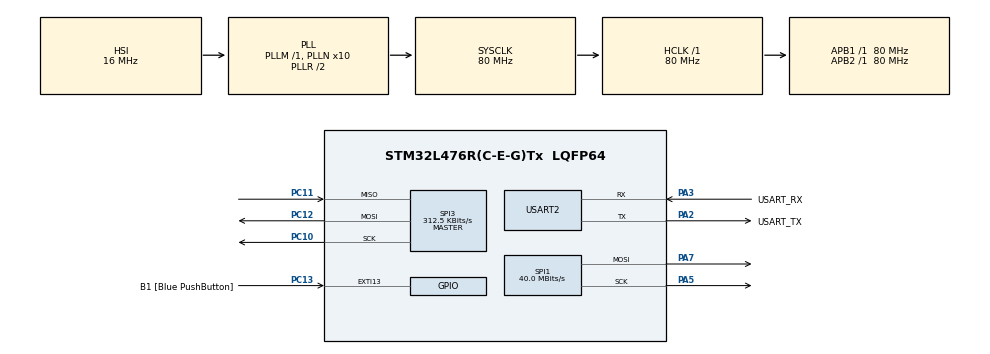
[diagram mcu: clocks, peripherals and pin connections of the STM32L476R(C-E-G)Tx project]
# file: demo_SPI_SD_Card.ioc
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Mcu.Family=STM32L4
Mcu.Name=STM32L476R(C-E-G)Tx
Mcu.Package=LQFP64
NVIC.PriorityGroup=NVIC_PRIORITYGROUP_4
PA13\ (JTMS-SWDIO).GPIO_Label=TMS
PA13\ (JTMS-SWDIO).Mode=Serial_Wire
PA13\ (JTMS-SWDIO).Signal=SYS_JTMS-SWDIO
PA14\ (JTCK-SWCLK).GPIO_Label=TCK
PA14\ (JTCK-SWCLK).Mode=Serial_Wire
PA14\ (JTCK-SWCLK).Signal=SYS_JTCK-SWCLK
PA2.GPIO_Label=USART_TX
PA2.GPIO_Mode=GPIO_MODE_AF_PP
PA2.GPIO_PuPd=GPIO_NOPULL
PA2.GPIO_Speed=GPIO_SPEED_FREQ_VERY_HIGH
PA2.Mode=Asynchronous
PA2.Signal=USART2_TX
PA3.GPIO_Label=USART_RX
PA3.GPIO_Mode=GPIO_MODE_AF_PP
PA3.GPIO_PuPd=GPIO_NOPULL
PA3.GPIO_Speed=GPIO_SPEED_FREQ_VERY_HIGH
PA3.Mode=Asynchronous
PA3.Signal=USART2_RX
PA5.Mode=TX_Only_Simplex_Unidirect_Master
PA5.Signal=SPI1_SCK
PA7.Mode=TX_Only_Simplex_Unidirect_Master
PA7.Signal=SPI1_MOSI
PB3\ (JTDO-TRACESWO).GPIO_Label=SWO
PB3\ (JTDO-TRACESWO).Signal=SYS_JTDO-SWO
PC10.Mode=Full_Duplex_Master
PC10.Signal=SPI3_SCK
PC11.Mode=Full_Duplex_Master
PC11.Signal=SPI3_MISO
PC12.Mode=Full_Duplex_Master
PC12.Signal=SPI3_MOSI
PC13.GPIO_Label=B1 [Blue PushButton]
PC13.GPIO_ModeDefaultEXTI=GPIO_MODE_IT_FALLING
PC13.GPIO_PuPd=GPIO_NOPULL
PC13.Signal=GPXTI13
PC14-OSC32_IN\ (PC14).Mode=LSE-External-Oscillator
PC14-OSC32_IN\ (PC14).Signal=RCC_OSC32_IN
PC15-OSC32_OUT\ (PC15).Mode=LSE-External-Oscillator
PC15-OSC32_OUT\ (PC15).Signal=RCC_OSC32_OUT
PH0-OSC_IN\ (PH0).Mode=HSE-External-Oscillator
PH0-OSC_IN\ (PH0).Signal=RCC_OSC_IN
PH1-OSC_OUT\ (PH1).Mode=HSE-External-Oscillator
PH1-OSC_OUT\ (PH1).Signal=RCC_OSC_OUT
ProjectManager.HeapSize=0x200
ProjectManager.StackSize=0x1000
ProjectManager.TargetToolchain=STM32CubeIDE
RCC.ADCFreq_Value=64000000
RCC.AHBFreq_Value=80000000
RCC.APB1Freq_Value=80000000
RCC.APB1TimFreq_Value=80000000
RCC.APB2Freq_Value=80000000
RCC.APB2TimFreq_Value=80000000
RCC.CortexFreq_Value=80000000
RCC.HCLKFreq_Value=80000000
RCC.HSE_VALUE=8000000
RCC.HSI_VALUE=16000000
RCC.MSI_VALUE=4000000
RCC.PLLN=10
RCC.PLLSourceVirtual=RCC_PLLSOURCE_HSI
RCC.PREFETCH_ENABLE=1
RCC.SYSCLKFreq_VALUE=80000000
RCC.SYSCLKSource=RCC_SYSCLKSOURCE_PLLCLK
RCC.USBFreq_Value=64000000
RCC.VCOOutputFreq_Value=160000000
SPI1.CalculateBaudRate=40.0 MBits/s
SPI1.DataSize=SPI_DATASIZE_8BIT
SPI1.Direction=SPI_DIRECTION_2LINES
SPI1.Mode=SPI_MODE_MASTER
SPI1.VirtualType=VM_MASTER
SPI3.BaudRatePrescaler=SPI_BAUDRATEPRESCALER_256
SPI3.CLKPhase=SPI_PHASE_2EDGE
SPI3.CLKPolarity=SPI_POLARITY_HIGH
SPI3.CRCCalculation=SPI_CRCCALCULATION_DISABLE
SPI3.CalculateBaudRate=312.5 KBits/s
SPI3.DataSize=SPI_DATASIZE_8BIT
SPI3.Direction=SPI_DIRECTION_2LINES
SPI3.Mode=SPI_MODE_MASTER
SPI3.VirtualType=VM_MASTER
USART2.VirtualMode-Asynchronous=VM_ASYNC
VP_FATFS_VS_Generic.Mode=User_defined
board=NUCLEO-L476RG

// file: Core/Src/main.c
/* USER CODE BEGIN Header */
/**
  ******************************************************************************
  * @file           : main.c
  * @brief          : Main program body
  ******************************************************************************
  * @attention
  *
  * Copyright (c) 2023 STMicroelectronics.
  * All rights reserved.
  *
  * This software is licensed under terms that can be found in the LICENSE file
  * in the root directory of this software component.
  * If no LICENSE file comes with this software, it is provided AS-IS.
  *
  ******************************************************************************
  */
/* USER CODE END Header */
#include "main.h"
#include "fatfs.h"
#include "spi.h"
#include "usart.h"
#include "gpio.h"

/* USER CODE BEGIN Includes */
#include "lcd.h"
#include "sd.h"
#include "string.h"
/* USER CODE END Includes */

void SystemClock_Config(void);

int main(void)
{

  /* MCU Configuration--------------------------------------------------------*/

  /* Reset of all peripherals, Initializes the Flash interface and the Systick. */
  HAL_Init();

  /* Configure the system clock */
  SystemClock_Config();

  /* Initialize all configured peripherals */
  MX_GPIO_Init();
  MX_SPI1_Init();
  MX_USART2_UART_Init();
  MX_SPI3_Init();
  MX_FATFS_Init();
  /* USER CODE BEGIN 2 */
//  uint32_t NumberBack = 0;
    LCD_Init(WHITE);
//    LCD_ShowString(30,0,"SPI mode SD card test",BLACK,WHITE,16,1);
//
//    uint8_t i = 0;
//    while (SD_Init() != 0) {
//        LCD_ShowString(30,16 + 24*i,"No SD Card",BLACK,WHITE,24,1);
//        i++;
//        HAL_Delay(2000);
//    }
//    LCD_ShowString(30,16,"SD Init success",BLACK,WHITE,16,1);
//
//    //逻辑0扇区的物理扇区号
//    NumberBack = SD_GetLogic0();
//    LCD_ShowString(30,16*2,"Number:",BLACK,WHITE,16,1);
//    LCD_ShowHexNum(30 + 8* strlen("NUmber:"),16*2,NumberBack,8,BLACK,WHITE,16,1 );
//
//    //获取扇区总数
//    uint32_t SectorNum = 0;
//    SectorNum = GetSDCardSectorCount(); //SectorNum = 15564800 SD 7.421875GB

    //Write Data in SD
//    uint8_t Buff[512];
//    for(uint16_t j = 0;j < 512;j++) {
//        Buff[j] = 2*j;
//    }
//    SDCardWriteData(Buff,0x00000000,1);

//    uint8_t RxBuff[512];

    FATFS *fs;
    FRESULT ret;
    //apply malloc
    fs = (FATFS *)malloc(sizeof(FATFS));

    //mount SD device
    ret = f_mount(fs,"0:",1);
    if(ret) {
        LCD_ShowString(30,0,"mount fail",BLACK,WHITE,16,1);
    } else {
        LCD_ShowString(30, 0, "mount OK", BLACK, WHITE, 16, 1);
    }

    //open file
    FIL *fil;
    FRESULT res;
    fil = malloc(sizeof(FIL));
    res = f_open(fil,"test.txt",FA_READ | FA_WRITE | FA_OPEN_ALWAYS);
    if(res) {
        LCD_ShowString(30,16,"open fail",BLACK,WHITE,16,1);
    } else {
        LCD_ShowString(30,16,"open OK",BLACK,WHITE,16,1);
    }

    //read file attention: read and write ptr
    uint8_t RxBuff[512] = {0};
    uint16_t FSize;
    uint16_t ReadCount;
    FSize = f_size(fil);
    f_read(fil,RxBuff,FSize,(UINT *)&ReadCount);
    if(ReadCount != 0) {
        for(uint8_t i = 0;i < FSize;i++) {
            LCD_ShowChar(30 + 8*i,16*2,RxBuff[i],BLACK,WHITE,16,1);
        }
    }

    //write file
//    uint16_t WriteCount;
//    f_write(fil,"Hello?",sizeof("Hello?"),(UINT *)&WriteCount);

    //close file
    f_close(fil);

  /* USER CODE END 2 */

  /* Infinite loop */
  /* USER CODE BEGIN WHILE */
  while (1)
  {
//      //read SD
//      for(uint16_t m = 0;m < 512 ;m++) {
//          RxBuff[m] = 0;
//      }
//        SDCardReadData(RxBuff,0x00000000,1);
//        LCD_ShowIntNum(30,16*3,RxBuff[0],3,BLACK,WHITE,16);
//        LCD_ShowIntNum(30 + 5*8,16*3,RxBuff[1],3,BLACK,WHITE,16);
//        LCD_ShowIntNum(30 + 10*8,16*3,RxBuff[2],3,BLACK,WHITE,16);
//        LCD_ShowIntNum(30 + 15*8,16*3,RxBuff[3],3,BLACK,WHITE,16);
    /* USER CODE END WHILE */

  }
}

void SystemClock_Config(void)
{
  RCC_OscInitTypeDef RCC_OscInitStruct = {0};
  RCC_ClkInitTypeDef RCC_ClkInitStruct = {0};

  /** Configure the main internal regulator output voltage
  */
  if (HAL_PWREx_ControlVoltageScaling(PWR_REGULATOR_VOLTAGE_SCALE1) != HAL_OK)
  {
    Error_Handler();
  }

  /** Initializes the RCC Oscillators according to the specified parameters
  * in the RCC_OscInitTypeDef structure.
  */
  RCC_OscInitStruct.OscillatorType = RCC_OSCILLATORTYPE_HSI;
  RCC_OscInitStruct.HSIState = RCC_HSI_ON;
  RCC_OscInitStruct.HSICalibrationValue = RCC_HSICALIBRATION_DEFAULT;
  RCC_OscInitStruct.PLL.PLLState = RCC_PLL_ON;
  RCC_OscInitStruct.PLL.PLLSource = RCC_PLLSOURCE_HSI;
  RCC_OscInitStruct.PLL.PLLM = 1;
  RCC_OscInitStruct.PLL.PLLN = 10;
  RCC_OscInitStruct.PLL.PLLP = RCC_PLLP_DIV7;
  RCC_OscInitStruct.PLL.PLLQ = RCC_PLLQ_DIV2;
  RCC_OscInitStruct.PLL.PLLR = RCC_PLLR_DIV2;
  if (HAL_RCC_OscConfig(&RCC_OscInitStruct) != HAL_OK)
  {
    Error_Handler();
  }

  /** Initializes the CPU, AHB and APB buses clocks
  */
  RCC_ClkInitStruct.ClockType = RCC_CLOCKTYPE_HCLK|RCC_CLOCKTYPE_SYSCLK
                              |RCC_CLOCKTYPE_PCLK1|RCC_CLOCKTYPE_PCLK2;
  RCC_ClkInitStruct.SYSCLKSource = RCC_SYSCLKSOURCE_PLLCLK;
  RCC_ClkInitStruct.AHBCLKDivider = RCC_SYSCLK_DIV1;
  RCC_ClkInitStruct.APB1CLKDivider = RCC_HCLK_DIV1;
  RCC_ClkInitStruct.APB2CLKDivider = RCC_HCLK_DIV1;

  if (HAL_RCC_ClockConfig(&RCC_ClkInitStruct, FLASH_LATENCY_4) != HAL_OK)
  {
    Error_Handler();
  }
}

void Error_Handler(void)
{
  __disable_irq();
  while (1)
  {
  }
}
